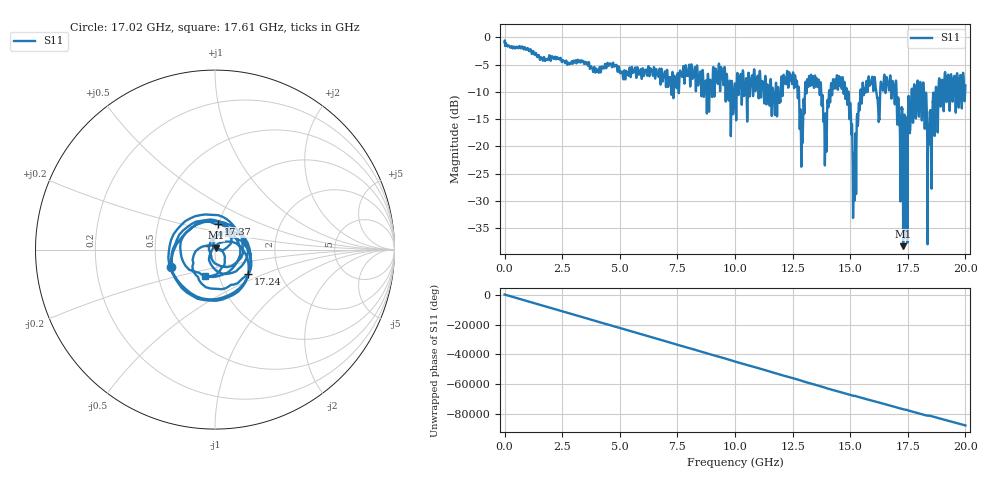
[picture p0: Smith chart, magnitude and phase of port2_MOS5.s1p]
! MS46122B
! 2250307/22442219
! 6/16/2025 7:49:28 AM
! C:\USERS\SPARKY\DOCUMENTS\VNA_DATA\JUNE16_2025\3.1K\PORT2_MOS5.S1P
! CHANNEL.1
! TR.MEASUREMENT
! RAW.DATA
# GHZ S RI R 50.0
! FREQ.GHZ  S11RE  S11IM
!; PortSelection: Port_1
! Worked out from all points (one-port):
!   10001 points, 1 MHz to 20 GHz, reference 50 ohm
!   lowest |S11| = -38.2 dB at 17.3 GHz (marker M1), VSWR 1.02, Z = 50.4 + j1.16 ohm
!   |S11| at or under -10 dB: 14.92 GHz to 15.44 GHz (515.4 MHz wide, 3.4 % of centre); 17.01 GHz to 17.66 GHz (647.9 MHz wide, 3.74 % of centre); 18.2 GHz to 18.71 GHz (505.1 MHz wide, 2.74 % of centre) (the widest 3 of 65)
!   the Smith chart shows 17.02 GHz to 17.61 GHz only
!   S11 on the Smith chart (normalised r, x): 17.02 GHz: 0.60, -0.13; 17.24 GHz: 1.38, -0.40; 17.37 GHz: 0.99, +0.29; 17.61 GHz: 0.85, -0.26
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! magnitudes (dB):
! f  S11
! 1 MHz  -0.9
! 2.501 GHz  -4.4
! 5.001 GHz  -6.5
! 7.501 GHz  -6.8
! 9.369 GHz  -8.0
! 10 GHz  -8.5
! 12.5 GHz  -7.2
! 12.69 GHz  -8.0
! 12.89 GHz  -21.1
! 13.3 GHz  -6.9
! 13.64 GHz  -8.0
! 13.91 GHz  -21.1
! 14.34 GHz  -7.7
! 15 GHz  -12.0
! 15.18 GHz  -22.5
! 15.38 GHz  -12.1
! 15.62 GHz  -9.5
! 16.66 GHz  -8.9
! 17.02 GHz  -11.6
! 17.24 GHz  -12.8
! 17.3 GHz  -38.2
! 17.37 GHz  -16.8
! 17.5 GHz  -18.1
! 17.61 GHz  -16.0
! 18.11 GHz  -15.2
! 18.44 GHz  -15.7
! 18.93 GHz  -12.4
! 20 GHz  -8.8
